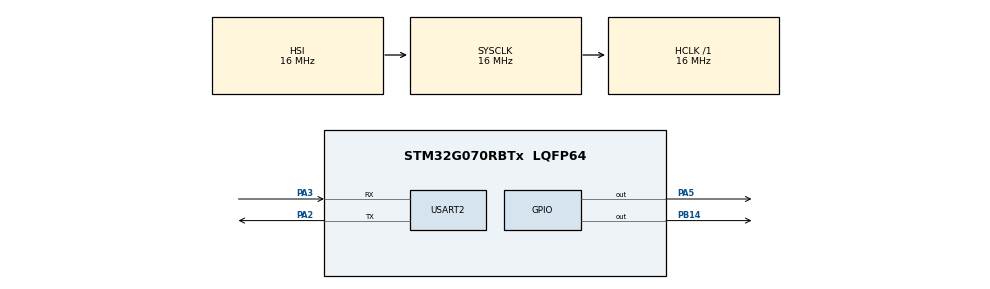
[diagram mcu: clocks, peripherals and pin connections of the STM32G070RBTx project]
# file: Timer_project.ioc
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Mcu.Family=STM32G0
Mcu.Name=STM32G070RBTx
Mcu.Package=LQFP64
NVIC.TIM3_IRQn=true\:3\:0\:false\:false\:true\:false\:true\:true
NVIC.TimeBase=TIM3_IRQn
NVIC.TimeBaseIP=TIM3
PA13.Mode=Serial_Wire
PA13.Signal=SYS_SWDIO
PA14-BOOT0.Mode=Serial_Wire
PA14-BOOT0.Signal=SYS_SWCLK
PA2.Mode=Asynchronous
PA2.Signal=USART2_TX
PA3.Mode=Asynchronous
PA3.Signal=USART2_RX
PA5.Signal=GPIO_Output
PB14.Signal=GPIO_Output
PC14-OSC32_IN\ (PC14).Mode=LSE-External-Oscillator
PC14-OSC32_IN\ (PC14).Signal=RCC_OSC32_IN
PC15-OSC32_OUT\ (PC15).Mode=LSE-External-Oscillator
PC15-OSC32_OUT\ (PC15).Signal=RCC_OSC32_OUT
PF0-OSC_IN\ (PF0).Mode=HSE-External-Clock-Source
PF0-OSC_IN\ (PF0).Signal=RCC_OSC_IN
ProjectManager.HeapSize=0x200
ProjectManager.StackSize=0x400
ProjectManager.TargetToolchain=STM32CubeIDE
RCC.AHBFreq_Value=16000000
RCC.CortexFreq_Value=16000000
RCC.EXTERNAL_CLOCK_VALUE=12288000
RCC.HCLKFreq_Value=16000000
RCC.HSE_VALUE=8000000
RCC.HSI_VALUE=16000000
RCC.SYSCLKFreq_VALUE=16000000
RCC.VCOOutputFreq_Value=128000000
USART2.VirtualMode-Asynchronous=VM_ASYNC
VP_SYS_VS_tim3.Mode=TIM3
board=NUCLEO-G070RB

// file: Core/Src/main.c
/* USER CODE BEGIN Header */
/**
  ******************************************************************************
  * @file           : main.c
  * @brief          : Main program body
  ******************************************************************************
  * @attention
  *
  * Copyright (c) 2023 STMicroelectronics.
  * All rights reserved.
  *
  * This software is licensed under terms that can be found in the LICENSE file
  * in the root directory of this software component.
  * If no LICENSE file comes with this software, it is provided AS-IS.
  *
  ******************************************************************************
  */
/* USER CODE END Header */
#include "main.h"
#include <stdio.h>
#include <string.h>

/* USER CODE BEGIN Includes */
#include "FreeRTOS.h"
#include "task.h"
#include "timers.h"

/* USER CODE END Includes */

UART_HandleTypeDef huart2;

/* USER CODE BEGIN PV */
TimerHandle_t AutoreloadHandle=NULL, AutoreloadHandle2=NULL;

/* USER CODE END PV */

void SystemClock_Config(void);
static void MX_GPIO_Init(void);
static void MX_USART2_UART_Init(void);
/* USER CODE BEGIN PFP */
void AutoreloadCallback(TimerHandle_t timer);
void AutoreloadCallback2(TimerHandle_t timer);

/* USER CODE END PFP */

/* USER CODE BEGIN 0 */
void delay(unsigned int a)
{
	unsigned int i,j;
	for(i=0;i<a;i++)
	for(j=0;j<5000;j++);
}
void transmit(void)
{
	uint8_t data[] = "BOTH TIMERS CREATED\r\n";
	HAL_UART_Transmit(&huart2, data, sizeof(data), 1000);
}
void AutoreloadCallback(TimerHandle_t timer)
{
	uint8_t data[] = "AUTORELOAD EXECUTING\r\n";
	HAL_UART_Transmit(&huart2, data, sizeof(data), 1000);
	HAL_GPIO_WritePin(GPIOA,GPIO_PIN_5,SET);
	delay(200);
	HAL_GPIO_WritePin(GPIOA,GPIO_PIN_5,RESET);
	delay(200);
}

void AutoreloadCallback2(TimerHandle_t timer)
{
	uint8_t data[] = "AUTORELOAD2 EXECUTE\r\n";
	HAL_UART_Transmit(&huart2, data, sizeof(data), 1000);
	HAL_GPIO_TogglePin(GPIOB,GPIO_PIN_14);
	delay(100);
}

/* USER CODE END 0 */

int main(void)
{

  /* MCU Configuration--------------------------------------------------------*/

  /* Reset of all peripherals, Initializes the Flash interface and the Systick. */
  HAL_Init();

  /* Configure the system clock */
  SystemClock_Config();

  /* Initialize all configured peripherals */
  MX_GPIO_Init();
  MX_USART2_UART_Init();
  /* USER CODE BEGIN 2 */
  AutoreloadHandle=xTimerCreate("Autoreload", 1000, pdTRUE,0, AutoreloadCallback);

    AutoreloadHandle2=xTimerCreate("Autoreload", 2000, pdTRUE,0, AutoreloadCallback2);

    if(AutoreloadHandle != NULL && AutoreloadHandle2 != NULL)
    {

    	xTimerStart(AutoreloadHandle,0);
    	xTimerStart(AutoreloadHandle2,0);
    }

     vTaskStartScheduler();

  /* USER CODE END 2 */

  /* Infinite loop */
  while (1)
  {

  }
}

void SystemClock_Config(void)
{
  RCC_OscInitTypeDef RCC_OscInitStruct = {0};
  RCC_ClkInitTypeDef RCC_ClkInitStruct = {0};

  /** Configure the main internal regulator output voltage
  */
  HAL_PWREx_ControlVoltageScaling(PWR_REGULATOR_VOLTAGE_SCALE1);

  /** Initializes the RCC Oscillators according to the specified parameters
  * in the RCC_OscInitTypeDef structure.
  */
  RCC_OscInitStruct.OscillatorType = RCC_OSCILLATORTYPE_HSI;
  RCC_OscInitStruct.HSIState = RCC_HSI_ON;
  RCC_OscInitStruct.HSIDiv = RCC_HSI_DIV1;
  RCC_OscInitStruct.HSICalibrationValue = RCC_HSICALIBRATION_DEFAULT;
  RCC_OscInitStruct.PLL.PLLState = RCC_PLL_NONE;
  if (HAL_RCC_OscConfig(&RCC_OscInitStruct) != HAL_OK)
  {
    Error_Handler();
  }

  /** Initializes the CPU, AHB and APB buses clocks
  */
  RCC_ClkInitStruct.ClockType = RCC_CLOCKTYPE_HCLK|RCC_CLOCKTYPE_SYSCLK
                              |RCC_CLOCKTYPE_PCLK1;
  RCC_ClkInitStruct.SYSCLKSource = RCC_SYSCLKSOURCE_HSI;
  RCC_ClkInitStruct.AHBCLKDivider = RCC_SYSCLK_DIV1;
  RCC_ClkInitStruct.APB1CLKDivider = RCC_HCLK_DIV1;

  if (HAL_RCC_ClockConfig(&RCC_ClkInitStruct, FLASH_LATENCY_0) != HAL_OK)
  {
    Error_Handler();
  }
}

static void MX_USART2_UART_Init(void)
{

  huart2.Instance = USART2;
  huart2.Init.BaudRate = 115200;
  huart2.Init.WordLength = UART_WORDLENGTH_8B;
  huart2.Init.StopBits = UART_STOPBITS_1;
  huart2.Init.Parity = UART_PARITY_NONE;
  huart2.Init.Mode = UART_MODE_TX_RX;
  huart2.Init.HwFlowCtl = UART_HWCONTROL_NONE;
  huart2.Init.OverSampling = UART_OVERSAMPLING_16;
  huart2.Init.OneBitSampling = UART_ONE_BIT_SAMPLE_DISABLE;
  huart2.Init.ClockPrescaler = UART_PRESCALER_DIV1;
  huart2.AdvancedInit.AdvFeatureInit = UART_ADVFEATURE_NO_INIT;
  if (HAL_UART_Init(&huart2) != HAL_OK)
  {
    Error_Handler();
  }
  if (HAL_UARTEx_SetTxFifoThreshold(&huart2, UART_TXFIFO_THRESHOLD_1_8) != HAL_OK)
  {
    Error_Handler();
  }
  if (HAL_UARTEx_SetRxFifoThreshold(&huart2, UART_RXFIFO_THRESHOLD_1_8) != HAL_OK)
  {
    Error_Handler();
  }
  if (HAL_UARTEx_DisableFifoMode(&huart2) != HAL_OK)
  {
    Error_Handler();
  }

}

static void MX_GPIO_Init(void)
{
  GPIO_InitTypeDef GPIO_InitStruct = {0};

  /* GPIO Ports Clock Enable */
  __HAL_RCC_GPIOC_CLK_ENABLE();
  __HAL_RCC_GPIOF_CLK_ENABLE();
  __HAL_RCC_GPIOA_CLK_ENABLE();
  __HAL_RCC_GPIOB_CLK_ENABLE();

  /*Configure GPIO pin Output Level */
  HAL_GPIO_WritePin(GPIOA, GPIO_PIN_5, GPIO_PIN_RESET);

  /*Configure GPIO pin Output Level */
  HAL_GPIO_WritePin(GPIOB, GPIO_PIN_14, GPIO_PIN_RESET);

  /*Configure GPIO pin : PA5 */
  GPIO_InitStruct.Pin = GPIO_PIN_5;
  GPIO_InitStruct.Mode = GPIO_MODE_OUTPUT_PP;
  GPIO_InitStruct.Pull = GPIO_NOPULL;
  GPIO_InitStruct.Speed = GPIO_SPEED_FREQ_LOW;
  HAL_GPIO_Init(GPIOA, &GPIO_InitStruct);

  /*Configure GPIO pin : PB14 */
  GPIO_InitStruct.Pin = GPIO_PIN_14;
  GPIO_InitStruct.Mode = GPIO_MODE_OUTPUT_PP;
  GPIO_InitStruct.Pull = GPIO_NOPULL;
  GPIO_InitStruct.Speed = GPIO_SPEED_FREQ_LOW;
  HAL_GPIO_Init(GPIOB, &GPIO_InitStruct);

}

void HAL_TIM_PeriodElapsedCallback(TIM_HandleTypeDef *htim)
{
  if (htim->Instance == TIM3) {
    HAL_IncTick();
  }
}

void Error_Handler(void)
{
  __disable_irq();
  while (1)
  {
  }
}
